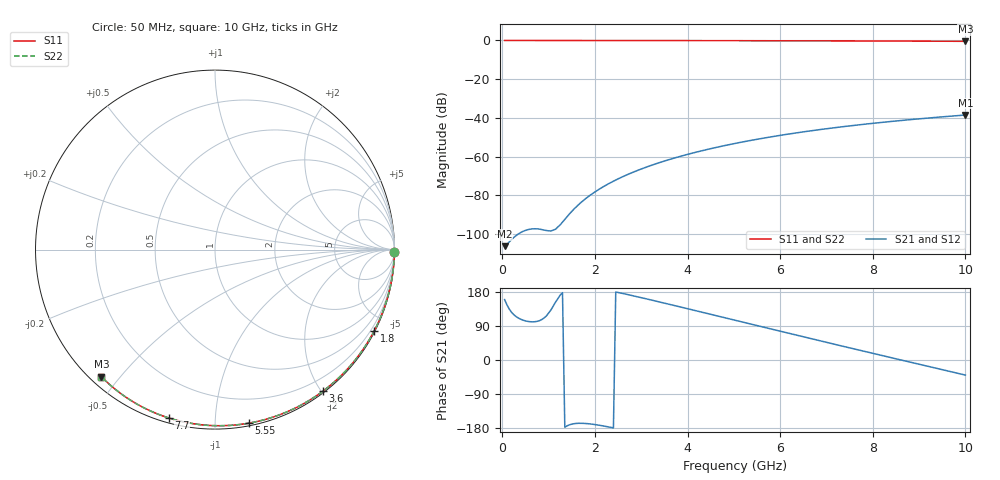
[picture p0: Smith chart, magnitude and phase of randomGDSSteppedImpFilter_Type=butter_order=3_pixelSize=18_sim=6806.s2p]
! freq	dB(S11)	phase(S11)	dB(S12)	phase(S12)
!  dB(S21)	phase(S21)	dB(S22)	phase(S22)
!S-par simulation data
#  GHz  S  DB  R 50
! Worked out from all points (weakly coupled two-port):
!   200 points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, 50 MHz to 10 GHz, reference 50 ohm
!   highest |S21| = -38.48 dB at 10 GHz (marker M1); lowest = -106.2 dB at 50 MHz (marker M2)
!   lowest |S11| = -0.4 dB at 10 GHz (marker M3), VSWR 38.92, Z = 1.54 - j22.4 ohm
!   |S11| at or under -10 dB: nowhere
!   |S22| runs from -0.4 to 0.0 dB; largest |S21 - S12| = 0
!   S11 on the Smith chart (normalised r, x): 50 MHz: open; 1.8 GHz: 0.04, -4.17; 3.6 GHz: 0.02, -2.01; 5.55 GHz: 0.02, -1.22; 7.7 GHz: 0.02, -0.76; 10 GHz: 0.03, -0.45
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0.05  -0.00 -0.8  -106.18 159.3  -106.18 159.3  -0.00 -0.8
0.45  -0.01 -6.8  -98.51 105.0  -98.51 105.0  -0.01 -6.8
0.9  -0.02 -13.6  -97.84 110.8  -97.84 110.8  -0.02 -13.6
1.75  -0.03 -26.3  -82.60 -167.2  -82.60 -167.2  -0.03 -26.3
1.8  -0.03 -27.0  -81.63 -167.5  -81.63 -167.5  -0.03 -27.0
1.9  -0.04 -28.5  -79.84 -168.7  -79.84 -168.7  -0.04 -28.5
2.05  -0.04 -30.7  -77.40 -171.3  -77.40 -171.3  -0.04 -30.7
2.25  -0.04 -33.6  -74.54 -175.6  -74.54 -175.6  -0.04 -33.6
2.45  -0.05 -36.5  -72.03 179.5  -72.03 179.5  -0.05 -36.5
2.65  -0.05 -39.4  -69.78 174.3  -69.78 174.3  -0.05 -39.4
3  -0.06 -44.4  -66.35 164.5  -66.35 164.5  -0.06 -44.4
3.4  -0.07 -50.0  -62.99 153.0  -62.99 153.0  -0.07 -50.0
3.6  -0.07 -52.8  -61.50 147.2  -61.50 147.2  -0.07 -52.8
4.3  -0.09 -62.4  -56.97 126.5  -56.97 126.5  -0.09 -62.4
5.05  -0.11 -72.4  -53.03 104.3  -53.03 104.3  -0.11 -72.4
5.55  -0.13 -78.9  -50.79 89.4  -50.79 89.4  -0.13 -78.9
6.1  -0.15 -85.8  -48.61 73.1  -48.61 73.1  -0.15 -85.8
6.7  -0.18 -93.3  -46.51 55.4  -46.51 55.4  -0.18 -93.3
7.7  -0.24 -105.3  -43.55 26.2  -43.55 26.2  -0.24 -105.3
8.35  -0.29 -112.9  -41.91 7.5  -41.91 7.5  -0.29 -112.9
9.15  -0.36 -122.1  -40.14 -15.4  -40.14 -15.4  -0.36 -122.1
10  -0.45 -131.8  -38.48 -39.8  -38.48 -39.8  -0.45 -131.8
